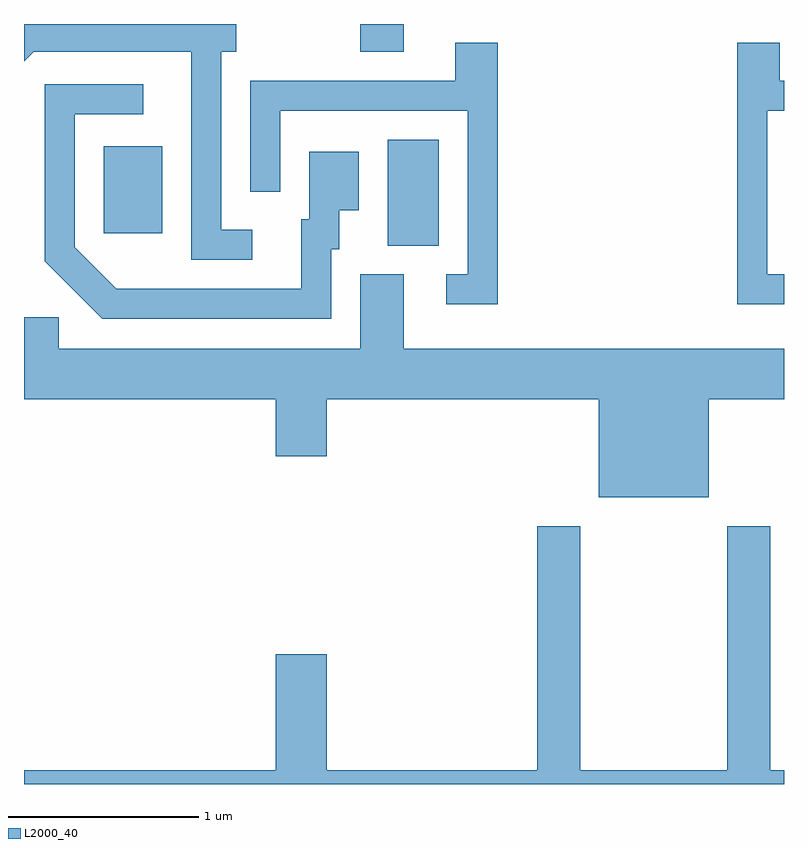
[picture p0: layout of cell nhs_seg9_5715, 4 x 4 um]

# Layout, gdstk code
import gdstk
lib = gdstk.Library(unit=1e-6, precision=1e-09)
def R(c, l, rs):  # rectangles x0, y0, x1, y1
    for r in rs: c.add(gdstk.rectangle(r[:2], r[2:], *l))
def P(c, l, *ps):  # polygons
    for p in ps: c.add(gdstk.Polygon(p, *l))
L2000_40 = (2000, 40)

nhs_seg9_5715 = lib.new_cell('nhs_seg9_5715')
R(nhs_seg9_5715, L2000_40, [(355.526,2019.266,355.794,2019.824), (354.031,2019.331,354.339,2019.789), (355.381,2020.286,355.609,2020.432)])
P(nhs_seg9_5715, L2000_40, [(354.813,2019.349),(354.649,2019.349),(354.649,2020.286),(354.728,2020.286),(354.728,2020.432),(353.611,2020.432),(353.611,2020.235),(353.662,2020.286),(354.491,2020.286),(354.491,2019.191),(354.813,2019.191)],
  [(357.611,2019.114),(357.524,2019.114),(357.524,2019.976),(357.611,2019.976),(357.611,2020.134),(357.589,2020.134),(357.589,2020.334),(357.366,2020.334),(357.366,2018.956),(357.611,2018.956)],
  [(356.104,2020.334),(355.881,2020.334),(355.881,2020.134),(354.801,2020.134),(354.801,2019.548),(354.959,2019.548),(354.959,2019.976),(355.946,2019.976),(355.946,2019.114),(355.833,2019.114),(355.833,2018.956),(356.104,2018.956)],
  [(355.229,2019.246),(355.269,2019.246),(355.269,2019.451),(355.374,2019.451),(355.374,2019.759),(355.111,2019.759),(355.111,2019.404),(355.071,2019.404),(355.071,2019.039),(354.097,2019.039),(353.879,2019.257),(353.879,2019.956),(354.238,2019.956),(354.238,2020.114),(353.721,2020.114),(353.721,2019.184),(354.024,2018.881),(355.229,2018.881)],
  [(355.609,2019.114),(355.381,2019.114),(355.381,2018.724),(353.794,2018.724),(353.794,2018.889),(353.611,2018.889),(353.611,2018.456),(354.936,2018.456),(354.936,2018.156),(355.204,2018.156),(355.204,2018.456),(356.636,2018.456),(356.636,2017.941),(357.214,2017.941),(357.214,2018.456),(357.611,2018.456),(357.611,2018.724),(355.609,2018.724)],
  [(357.611,2016.504),(357.539,2016.504),(357.539,2017.789),(357.311,2017.789),(357.311,2016.504),(356.539,2016.504),(356.539,2017.789),(356.311,2017.789),(356.311,2016.504),(355.204,2016.504),(355.204,2017.114),(354.936,2017.114),(354.936,2016.504),(353.611,2016.504),(353.611,2016.432),(357.611,2016.432)])

lib.write_gds('nhs_seg9_5715.gds')
